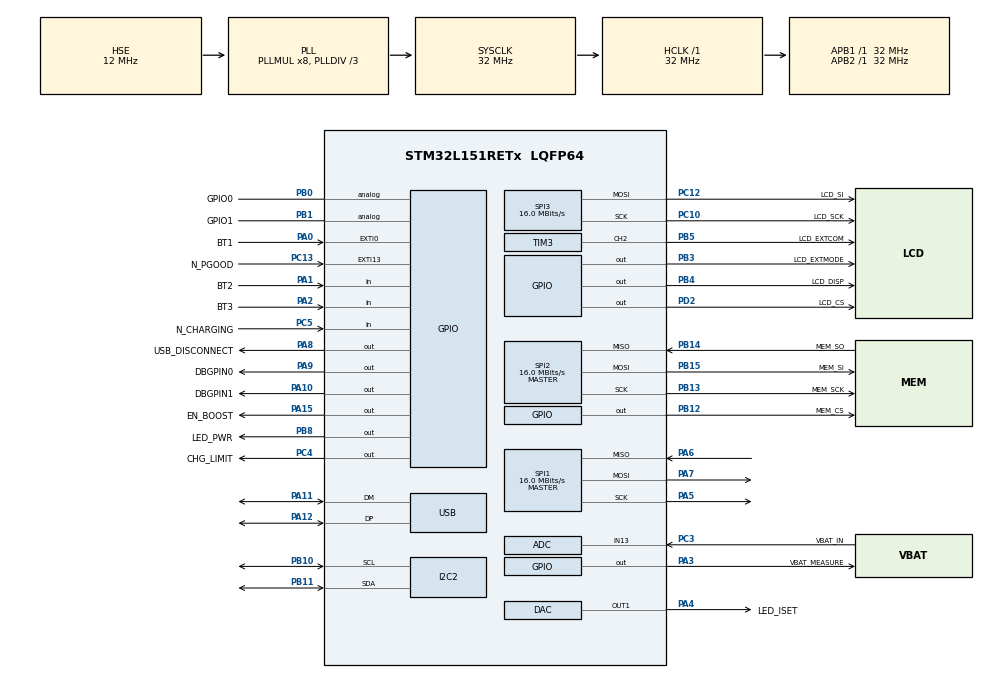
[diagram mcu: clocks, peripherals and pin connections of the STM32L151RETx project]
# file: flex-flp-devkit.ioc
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ADC.Channel-0\#ChannelRegularConversion=ADC_CHANNEL_13
ADC.NbrOfConversionFlag=1
ADC.Rank-0\#ChannelRegularConversion=1
ADC.SamplingTime-0\#ChannelRegularConversion=ADC_SAMPLETIME_4CYCLES
Dma.Request0=SPI3_TX
Dma.SPI3_TX.0.Direction=DMA_MEMORY_TO_PERIPH
Dma.SPI3_TX.0.Instance=DMA2_Channel2
Dma.SPI3_TX.0.MemDataAlignment=DMA_MDATAALIGN_BYTE
Dma.SPI3_TX.0.MemInc=DMA_MINC_ENABLE
Dma.SPI3_TX.0.Mode=DMA_NORMAL
Dma.SPI3_TX.0.PeriphDataAlignment=DMA_PDATAALIGN_BYTE
Dma.SPI3_TX.0.PeriphInc=DMA_PINC_DISABLE
Dma.SPI3_TX.0.Priority=DMA_PRIORITY_LOW
Mcu.Family=STM32L1
Mcu.Name=STM32L151RETx
Mcu.Package=LQFP64
NVIC.DMA2_Channel2_IRQn=true\:0\:0\:false\:false\:true\:true\:true
NVIC.EXTI0_IRQn=true\:0\:0\:false\:false\:true\:true\:true
NVIC.EXTI15_10_IRQn=true\:0\:0\:false\:false\:true\:true\:true
NVIC.PriorityGroup=NVIC_PRIORITYGROUP_4
NVIC.USB_LP_IRQn=true\:0\:0\:false\:false\:true\:true\:true
PA0-WKUP1.GPIO_Label=BT1
PA0-WKUP1.GPIO_ModeDefaultEXTI=GPIO_MODE_IT_FALLING
PA0-WKUP1.Signal=GPXTI0
PA1.GPIO_Label=BT2
PA1.Signal=GPIO_Input
PA10.GPIO_Label=DBGPIN1
PA10.Signal=GPIO_Output
PA11.Mode=Device
PA11.Signal=USB_DM
PA12.Mode=Device
PA12.Signal=USB_DP
PA13.Mode=Serial_Wire
PA13.Signal=SYS_JTMS-SWDIO
PA14.Mode=Serial_Wire
PA14.Signal=SYS_JTCK-SWCLK
PA15.GPIO_Label=EN_BOOST
PA15.Signal=GPIO_Output
PA2.GPIO_Label=BT3
PA2.Signal=GPIO_Input
PA3.GPIO_Label=VBAT_MEASURE
PA3.Signal=GPIO_Output
PA4.GPIO_Label=LED_ISET
PA4.Signal=COMP_DAC1_group
PA5.Mode=Full_Duplex_Master
PA5.Signal=SPI1_SCK
PA6.Mode=Full_Duplex_Master
PA6.Signal=SPI1_MISO
PA7.Mode=Full_Duplex_Master
PA7.Signal=SPI1_MOSI
PA8.GPIO_Label=USB_DISCONNECT
PA8.Signal=GPIO_Output
PA9.GPIO_Label=DBGPIN0
PA9.Signal=GPIO_Output
PB0.GPIO_Label=GPIO0
PB0.Signal=GPIO_Analog
PB1.GPIO_Label=GPIO1
PB1.Signal=GPIO_Analog
PB10.Mode=I2C
PB10.Signal=I2C2_SCL
PB11.Mode=I2C
PB11.Signal=I2C2_SDA
PB12.GPIO_Label=MEM_CS
PB12.GPIO_Speed=GPIO_SPEED_FREQ_HIGH
PB12.PinState=GPIO_PIN_SET
PB12.Signal=GPIO_Output
PB13.GPIO_Label=MEM_SCK
PB13.Mode=Full_Duplex_Master
PB13.Signal=SPI2_SCK
PB14.GPIO_Label=MEM_SO
PB14.Mode=Full_Duplex_Master
PB14.Signal=SPI2_MISO
PB15.GPIO_Label=MEM_SI
PB15.Mode=Full_Duplex_Master
PB15.Signal=SPI2_MOSI
PB3.GPIO_Label=LCD_EXTMODE
PB3.Signal=GPIO_Output
PB4.GPIO_Label=LCD_DISP
PB4.Signal=GPIO_Output
PB5.GPIO_Label=LCD_EXTCOM
PB5.Signal=S_TIM3_CH2
PB6.Signal=USART1_TX
PB7.Signal=USART1_RX
PB8.GPIO_Label=LED_PWR
PB8.Signal=GPIO_Output
PC10.GPIO_Label=LCD_SCK
PC10.Mode=TX_Only_Simplex_Unidirect_Master
PC10.Signal=SPI3_SCK
PC12.GPIO_Label=LCD_SI
PC12.Mode=TX_Only_Simplex_Unidirect_Master
PC12.Signal=SPI3_MOSI
PC13-WKUP2.GPIO_Label=N_PGOOD
PC13-WKUP2.GPIO_ModeDefaultEXTI=GPIO_MODE_IT_FALLING
PC13-WKUP2.GPIO_PuPd=GPIO_PULLUP
PC13-WKUP2.Signal=GPXTI13
PC14-OSC32_IN.Mode=LSE-External-Oscillator
PC14-OSC32_IN.Signal=RCC_OSC32_IN
PC15-OSC32_OUT.Mode=LSE-External-Oscillator
PC15-OSC32_OUT.Signal=RCC_OSC32_OUT
PC3.GPIO_Label=VBAT_IN
PC3.Mode=IN13
PC3.Signal=ADC_IN13
PC4.GPIO_Label=CHG_LIMIT
PC4.Signal=GPIO_Output
PC5.GPIO_Label=N_CHARGING
PC5.GPIO_PuPd=GPIO_PULLUP
PC5.Signal=GPIO_Input
PD2.GPIO_Label=LCD_CS
PD2.GPIO_Speed=GPIO_SPEED_FREQ_HIGH
PD2.Signal=GPIO_Output
PH0-OSC_IN.Mode=HSE-External-Oscillator
PH0-OSC_IN.Signal=RCC_OSC_IN
PH1-OSC_OUT.Mode=HSE-External-Oscillator
PH1-OSC_OUT.Signal=RCC_OSC_OUT
ProjectManager.HeapSize=0x200
ProjectManager.StackSize=0x400
ProjectManager.TargetToolchain=TrueSTUDIO
RCC.48MHZClocksFreq_Value=48000000
RCC.AHBFreq_Value=32000000
RCC.APB1Freq_Value=32000000
RCC.APB1TimFreq_Value=32000000
RCC.APB2Freq_Value=32000000
RCC.APB2TimFreq_Value=32000000
RCC.HCLKFreq_Value=32000000
RCC.HSE_VALUE=12000000
RCC.HSI_VALUE=16000000
RCC.MSIClockRange=RCC_MSIRANGE_0
RCC.MSI_VALUE=65536
RCC.PLLDIV=RCC_PLL_DIV3
RCC.PLLMUL=RCC_PLL_MUL8
RCC.RTCClockSelection=RCC_RTCCLKSOURCE_LSE
RCC.RTCClockSelectionVirtual=RCC_RTCCLKSOURCE_LSE
RCC.SYSCLKFreq_VALUE=32000000
RCC.SYSCLKSource=RCC_SYSCLKSOURCE_PLLCLK
RCC.USBOutput=48000000
RCC.VCOOutputFreq_Value=96000000
SH.COMP_DAC1_group.0=DAC_OUT1,DAC_OUT1
SH.S_TIM3_CH2.0=TIM3_CH2,PWM Generation2 CH2
SPI1.BaudRatePrescaler=SPI_BAUDRATEPRESCALER_2
SPI1.CalculateBaudRate=16.0 MBits/s
SPI1.Direction=SPI_DIRECTION_2LINES
SPI1.Mode=SPI_MODE_MASTER
SPI1.VirtualType=VM_MASTER
SPI2.BaudRatePrescaler=SPI_BAUDRATEPRESCALER_2
SPI2.CalculateBaudRate=16.0 MBits/s
SPI2.Direction=SPI_DIRECTION_2LINES
SPI2.Mode=SPI_MODE_MASTER
SPI2.VirtualType=VM_MASTER
SPI3.BaudRatePrescaler=SPI_BAUDRATEPRESCALER_2
SPI3.CalculateBaudRate=16.0 MBits/s
SPI3.Direction=SPI_DIRECTION_2LINES
SPI3.FirstBit=SPI_FIRSTBIT_LSB
SPI3.Mode=SPI_MODE_MASTER
SPI3.VirtualType=VM_MASTER
TIM3.Channel-PWM\ Generation2\ CH2=TIM_CHANNEL_2
TIM3.Period=12000
TIM3.Prescaler=200
USB.low_power_enable=DISABLE
USB.lpm_enable=ENABLE
USB_DEVICE.CLASS_NAME_FS=CDC
USB_DEVICE.MANUFACTURER_STRING-CDC_FS=FLEx Lighting
USB_DEVICE.PRODUCT_STRING_CDC_FS=FLEx FLP Dev Kit
USB_DEVICE.VirtualMode=Cdc
USB_DEVICE.VirtualModeFS=Cdc_FS
VP_RTC_VS_RTC_Activate.Mode=RTC_Enabled
VP_TIM3_VS_ClockSourceINT.Mode=Internal
VP_USB_DEVICE_VS_USB_DEVICE_CDC_FS.Mode=CDC_FS
board=flex-flp-devkit

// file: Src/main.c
/* USER CODE BEGIN Header */
/**
  ******************************************************************************
  * @file           : main.c
  * @brief          : Main program body
  ******************************************************************************
  * @attention
  *
  * <h2><center>&copy; Copyright (c) 2019 STMicroelectronics.
  * All rights reserved.</center></h2>
  *
  * This software component is licensed by ST under Ultimate Liberty license
  * SLA0044, the "License"; You may not use this file except in compliance with
  * the License. You may obtain a copy of the License at:
  *                             www.st.com/SLA0044
  *
  ******************************************************************************
  */
/* USER CODE END Header */

#include "main.h"
#include "adc.h"
#include "dac.h"
#include "dma.h"
#include "i2c.h"
#include "rtc.h"
#include "spi.h"
#include "tim.h"
#include "usb_device.h"
#include "gpio.h"

/* USER CODE BEGIN Includes */
#include <stdio.h>
#include "usbd_cdc_if.h"
#include "memlcd.h"
#include "extflash.h"
#include "command.h"
#include "eeprom.h"
#include "bsp.h"
#include "flp.h"
#include "buttons.h"
#include "console.h"
/* USER CODE END Includes */

/* USER CODE BEGIN PV */
/* Private variables ---------------------------------------------------------*/

MEMLCD_HandleTypeDef hmemlcd = {
        .hspi = &hspi3,
        .htim = &htim3,
        .tim_ch = TIM_CHANNEL_2,
        .CS_Port = LCD_CS_GPIO_Port,
        .CS_Pin = LCD_CS_Pin,
        .DISP_Port = LCD_DISP_GPIO_Port,
        .DISP_Pin = LCD_DISP_Pin,
        .EXTMODE_Port = LCD_EXTMODE_GPIO_Port,
        .EXTMODE_Pin = LCD_EXTMODE_Pin,
        .EXTCOM_Port = LCD_EXTCOM_GPIO_Port,
        .EXTCOM_Pin = LCD_EXTCOM_Pin,
        .BOOST_Port = EN_BOOST_GPIO_Port,
        .BOOST_Pin = EN_BOOST_Pin,
};

EXTFLASH_HandleTypeDef hflash = {
        .hspi = &hspi2,
        .CS_Port = MEM_CS_GPIO_Port,
        .CS_Pin = MEM_CS_Pin,
        .size = 2*1024*1024,
};

uint8_t dirty, cur_idx, running;
uint16_t runticks, vbat_avg;
uint8_t b_ticks;

static enum BoardState {
    STATE_OFF,
    STATE_SPLASH_INIT,
    STATE_SPLASH,
    STATE_LOW_BATT_INIT,
    STATE_LOW_BATT,
    STATE_CHARGING_INIT,
    STATE_CHARGING,
    STATE_SLIDESHOW_INIT,
    STATE_SLIDESHOW_LOAD,
    STATE_SLIDESHOW_WAIT,
} State;

uint8_t led_message[] = {
        201,205,205,205,205,205,205,205,205,205,205,205,205,205,205,187,
        186,' ','1',' ','L','E','D',' ','2','0','.','0','m','A',' ',186,
        200,205,205,205,205,205,205,205,205,205,205,205,205,205,205,188,
};

/* USER CODE END PV */

void SystemClock_Config(void);
/* USER CODE BEGIN PFP */
/* Private function prototypes -----------------------------------------------*/

/* USER CODE END PFP */

/* USER CODE BEGIN 0 */

uint16_t BATTERY_read_voltage() {
    HAL_GPIO_WritePin(VBAT_MEASURE_GPIO_Port, VBAT_MEASURE_Pin, 1);
    HAL_Delay(5);
    ADC_ChannelConfTypeDef adcChannel;
    adcChannel.Channel = ADC_CHANNEL_VREFINT;
    adcChannel.Rank = 1;
    adcChannel.SamplingTime = ADC_SAMPLETIME_192CYCLES;
    HAL_ADC_ConfigChannel(&hadc, &adcChannel);
    HAL_ADC_Start(&hadc);
    HAL_ADC_PollForConversion(&hadc, 1000);
    uint16_t vdda_raw_adc = HAL_ADC_GetValue(&hadc);
    /* uint16_t vdda = (3000L*(*(uint16_t*)0x1FF800F8)) / vdda_raw_adc; */

    adcChannel.Channel = ADC_CHANNEL_13;
    adcChannel.Rank = 1;
    adcChannel.SamplingTime = ADC_SAMPLETIME_192CYCLES;
    HAL_ADC_ConfigChannel(&hadc, &adcChannel);
    HAL_ADC_Start(&hadc);
    HAL_ADC_PollForConversion(&hadc, 1000);
    uint16_t vbat_raw_adc = HAL_ADC_GetValue(&hadc);
    uint16_t vbat = (3000LL * (*(uint16_t*)0x1FF800F8) * vbat_raw_adc) / (2048L * vdda_raw_adc);
    HAL_GPIO_WritePin(VBAT_MEASURE_GPIO_Port, VBAT_MEASURE_Pin, 0);

    HAL_ADC_Stop(&hadc);

    return vbat;
}

/* USER CODE END 0 */

int main(void)
{
  /* USER CODE BEGIN 1 */
    uint8_t ledmsg_tim=0;
  /* USER CODE END 1 */

  /* MCU Configuration--------------------------------------------------------*/

  /* Reset of all peripherals, Initializes the Flash interface and the Systick. */
  HAL_Init();

  /* Configure the system clock */
  SystemClock_Config();

  /* Initialize all configured peripherals */
  MX_GPIO_Init();
  MX_DMA_Init();
  MX_DAC_Init();
  MX_I2C2_Init();
  MX_RTC_Init();
  MX_SPI1_Init();
  MX_SPI2_Init();
  MX_SPI3_Init();
  MX_TIM3_Init();
  MX_USB_DEVICE_Init();
  MX_ADC_Init();
  /* USER CODE BEGIN 2 */
  BSP_init();
  CON_init();
  State = STATE_OFF;
  /* USER CODE END 2 */

  /* Infinite loop */
  /* USER CODE BEGIN WHILE */
  while (1)
  {
      uint32_t looptime = HAL_GetTick();
    /* USER CODE END WHILE */

    /* USER CODE BEGIN 3 */
      if (dirty && !MEMLCD_busy()){
          MEMLCD_update_area(&hmemlcd, 0, -1);
          dirty = 0;
      }
      BUTTON_poll();

      if (BUTTON_is_released(2, 40)) {
    	  FLP_toggle();
      } else if(BUTTON_held_time(2) > 40 && FLP_is_on()) {
    	  b_ticks++;
    	  if (b_ticks >= 4) {
    		  FLP_change_brightness(1);
    		  b_ticks = 0;
    	  }
    	  ledmsg_tim = 50;
      }
      if(ledmsg_tim) ledmsg_tim--;

      if (BUTTON_is_released(3, 50)) {
    	  running = 0;
    	  runticks = 0;
      } else if (BUTTON_held_time(3) == 100) {
    	  running = 1;
    	  runticks = 0;
      }

      switch (State) {
      case STATE_OFF:
          while (MEMLCD_busy());
          MEMLCD_clear_all(&hmemlcd);
          if (BSP_sleep() == 1) { // Woke up with button
              State = STATE_SPLASH_INIT;
          } else { // Woke up with USB
              State = STATE_CHARGING_INIT;
          }
          break;

      case STATE_CHARGING_INIT:
          if (!MEMLCD_busy()) {
              clrscr();
              printxy(1, 1, "USB CONNECTED");
              printxy(1, 2, "CHARGING...");
              printxy(1, 3, "PRESS POWER");
              printxy(1, 4, "TO START");
              dirty = 1;
              State = STATE_CHARGING;
              runticks = 0;
          }
          break;
      case STATE_CHARGING:
          if (runticks < 50) {
              runticks++;
              break;
          }
          if (BUTTON_held_time(1)) State = STATE_SPLASH_INIT;
          if(!HAL_GPIO_ReadPin(N_PGOOD_GPIO_Port, N_PGOOD_Pin) && HAL_GPIO_ReadPin(N_CHARGING_GPIO_Port, N_CHARGING_Pin)) {
              State = STATE_SPLASH_INIT; // If charging is done
          }
          if (HAL_GPIO_ReadPin(N_PGOOD_GPIO_Port, N_PGOOD_Pin)) {
              State = STATE_OFF; // If disconnected
          }
          break;
      case STATE_SPLASH_INIT:
          FLP_set_current(20);
          FLP_on();
          clrscr();
          printxy(1,1,"FLEx Lighting");
          printxy(1,2,"FLP Dev Kit");
          printxy(1,3,"FW Ver %i", FIRMWARE_VERSION);
          vbat_avg = BATTERY_read_voltage();
          printxy(1,5,"Vbat = %04i mV", vbat_avg);
          dirty = 1;
          runticks = 0;
          State = STATE_SPLASH;
          break;
      case STATE_SPLASH:
          if (runticks < 16) {
              vbat_avg = (vbat_avg + BATTERY_read_voltage()) / 2;
          }
          printxy(1,5,"Vbat = %04i mV", vbat_avg);
          dirty = 1;
          if (runticks == 20) FLP_off();
          if (runticks >= 100 && BUTTON_held_time(1) == 0) {
              if (vbat_avg > 3300 || vbat_avg < 1500 || !HAL_GPIO_ReadPin(N_PGOOD_GPIO_Port, N_PGOOD_Pin)) {
                  State = STATE_SLIDESHOW_INIT;
              } else {
                  State = STATE_LOW_BATT_INIT;
              }
          }
          if (runticks < 150) {
              runticks++;
          }
          break;

      case STATE_LOW_BATT_INIT:
          clrscr();
          printxy(1, 1, "LOW BATTERY!");
          printxy(1, 2, "PLEASE CONNECT");
          printxy(1, 3, "USB CHARGER");
          dirty = 1;
          runticks = 0;
          State = STATE_LOW_BATT;
          break;
      case STATE_LOW_BATT:
          if (runticks >= 300 || !HAL_GPIO_ReadPin(N_PGOOD_GPIO_Port, N_PGOOD_Pin))
              State = STATE_OFF;
          runticks++;
          break;
      case STATE_SLIDESHOW_INIT:
          clrscr();
          cur_idx = 0;
          running = 1;
          FLP_set_current(EEPROM_Settings->default_led_current);
          State = STATE_SLIDESHOW_LOAD;
          break;
      case STATE_SLIDESHOW_WAIT:
          if (BUTTON_held_time(1) >= 100) {
              State = STATE_OFF;
          }
          if (!runticks) {
              cur_idx = (cur_idx+1) % (EEPROM_Settings->slide_count);
              State = STATE_SLIDESHOW_LOAD;
          }
          if (running) runticks--;
          if (!MEMLCD_busy()) {
              if(ledmsg_tim) {
                  hmemlcd.tilemaps[1].map = led_message;
                  uint8_t current_ma = FLP_get_current() / 100;
                  led_message[16+11] = '0' + current_ma % 10;
                  current_ma /= 10;
                  led_message[16+9] = '0' + current_ma % 10;
                  current_ma /= 10;
                  led_message[16+8] = (current_ma) ? '0' + current_ma % 10 : ' ';
                  dirty = 1;
              } else {
                  if (hmemlcd.tilemaps[1].map) {
                      hmemlcd.tilemaps[1].map = NULL;
                      dirty = 1;
                  }
              }
          }
          break;
      case STATE_SLIDESHOW_LOAD:
          runticks = EEPROM_Settings->slides[cur_idx].delay ? EEPROM_Settings->slides[cur_idx].delay : EEPROM_Settings->default_delay;
          uint16_t led_current = EEPROM_Settings->slides[cur_idx].led_current;
          if (led_current) {
              FLP_set_current(led_current);
              FLP_on();
          }
          MEMLCD_set_background_img(EEPROM_Settings->slides[cur_idx].img);
          dirty = 1;
          State = STATE_SLIDESHOW_WAIT;
          break;
      default:
          State = STATE_OFF;
          break;
      }

      CMD_tick();
      while (HAL_GetTick() - looptime < 20); // Cycle time = 20ms
  }
  /* USER CODE END 3 */
}

void SystemClock_Config(void)
{
  RCC_OscInitTypeDef RCC_OscInitStruct = {0};
  RCC_ClkInitTypeDef RCC_ClkInitStruct = {0};
  RCC_PeriphCLKInitTypeDef PeriphClkInit = {0};

  /** Configure the main internal regulator output voltage
  */
  __HAL_PWR_VOLTAGESCALING_CONFIG(PWR_REGULATOR_VOLTAGE_SCALE1);
  /** Initializes the CPU, AHB and APB busses clocks
  */
  RCC_OscInitStruct.OscillatorType = RCC_OSCILLATORTYPE_HSI|RCC_OSCILLATORTYPE_HSE
                              |RCC_OSCILLATORTYPE_LSE;
  RCC_OscInitStruct.HSEState = RCC_HSE_ON;
  RCC_OscInitStruct.LSEState = RCC_LSE_ON;
  RCC_OscInitStruct.HSIState = RCC_HSI_ON;
  RCC_OscInitStruct.HSICalibrationValue = RCC_HSICALIBRATION_DEFAULT;
  RCC_OscInitStruct.PLL.PLLState = RCC_PLL_ON;
  RCC_OscInitStruct.PLL.PLLSource = RCC_PLLSOURCE_HSE;
  RCC_OscInitStruct.PLL.PLLMUL = RCC_PLL_MUL8;
  RCC_OscInitStruct.PLL.PLLDIV = RCC_PLL_DIV3;
  if (HAL_RCC_OscConfig(&RCC_OscInitStruct) != HAL_OK)
  {
    Error_Handler();
  }
  /** Initializes the CPU, AHB and APB busses clocks
  */
  RCC_ClkInitStruct.ClockType = RCC_CLOCKTYPE_HCLK|RCC_CLOCKTYPE_SYSCLK
                              |RCC_CLOCKTYPE_PCLK1|RCC_CLOCKTYPE_PCLK2;
  RCC_ClkInitStruct.SYSCLKSource = RCC_SYSCLKSOURCE_PLLCLK;
  RCC_ClkInitStruct.AHBCLKDivider = RCC_SYSCLK_DIV1;
  RCC_ClkInitStruct.APB1CLKDivider = RCC_HCLK_DIV1;
  RCC_ClkInitStruct.APB2CLKDivider = RCC_HCLK_DIV1;

  if (HAL_RCC_ClockConfig(&RCC_ClkInitStruct, FLASH_LATENCY_1) != HAL_OK)
  {
    Error_Handler();
  }
  PeriphClkInit.PeriphClockSelection = RCC_PERIPHCLK_RTC;
  PeriphClkInit.RTCClockSelection = RCC_RTCCLKSOURCE_LSE;
  if (HAL_RCCEx_PeriphCLKConfig(&PeriphClkInit) != HAL_OK)
  {
    Error_Handler();
  }
}

void Error_Handler(void)
{
  /* USER CODE BEGIN Error_Handler_Debug */
  /* User can add his own implementation to report the HAL error return state */
  while(1)
  {
      HAL_NVIC_SystemReset();
  }
  /* USER CODE END Error_Handler_Debug */
}

/************************ (C) COPYRIGHT STMicroelectronics *****END OF FILE****/
